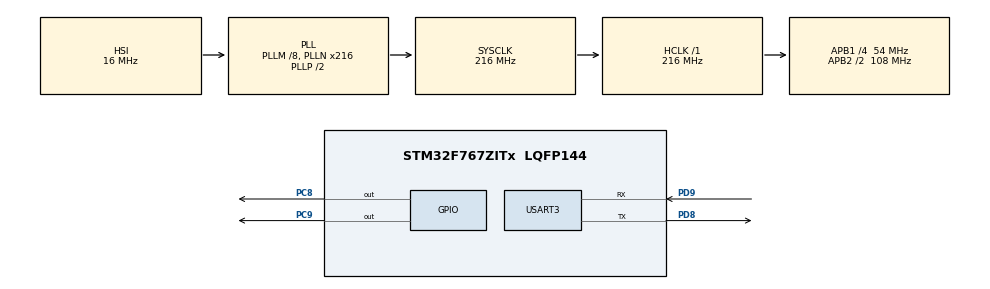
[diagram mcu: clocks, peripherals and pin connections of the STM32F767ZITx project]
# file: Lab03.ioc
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Mcu.Family=STM32F7
Mcu.Name=STM32F767ZITx
Mcu.Package=LQFP144
NVIC.PriorityGroup=NVIC_PRIORITYGROUP_4
PC8.Signal=GPIO_Output
PC9.Signal=GPIO_Output
PD8.Mode=Asynchronous
PD8.Signal=USART3_TX
PD9.Mode=Asynchronous
PD9.Signal=USART3_RX
ProjectManager.HeapSize=0x200
ProjectManager.StackSize=0x400
ProjectManager.TargetToolchain=STM32CubeIDE
RCC.48MHZClocksFreq_Value=24000000
RCC.AHBFreq_Value=216000000
RCC.APB1CLKDivider=RCC_HCLK_DIV4
RCC.APB1Freq_Value=54000000
RCC.APB1TimFreq_Value=108000000
RCC.APB2CLKDivider=RCC_HCLK_DIV2
RCC.APB2Freq_Value=108000000
RCC.APB2TimFreq_Value=216000000
RCC.CortexFreq_Value=216000000
RCC.HCLKFreq_Value=216000000
RCC.HSE_VALUE=8000000
RCC.HSI_VALUE=16000000
RCC.LSE_VALUE=32768
RCC.PLLM=8
RCC.PLLMUL=RCC_PLL_MUL9
RCC.PLLN=216
RCC.PLLQ=4
RCC.PRESCALERUSB=RCC_USBCLKSOURCE_PLL_DIV1_5
RCC.SYSCLKFreq_VALUE=216000000
RCC.SYSCLKSource=RCC_SYSCLKSOURCE_PLLCLK
RCC.SYSCLKSourceVirtual=RCC_SYSCLKSOURCE_PLLCLK
RCC.USBFreq_Value=108000000
RCC.VCOOutputFreq_Value=432000000
USART3.VirtualMode-Asynchronous=VM_ASYNC
board=NUCLEO-F767ZI

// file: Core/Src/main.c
/* USER CODE BEGIN Header */
/**
  ******************************************************************************
  * @file           : main.c
  * @brief          : Main program body
  ******************************************************************************
  * @attention
  *
  * Copyright (c) 2023 STMicroelectronics.
  * All rights reserved.
  *
  * This software is licensed under terms that can be found in the LICENSE file
  * in the root directory of this software component.
  * If no LICENSE file comes with this software, it is provided AS-IS.
  *
  ******************************************************************************
  */
/* USER CODE END Header */
#include "main.h"
#include "usart.h"
#include "gpio.h"

/* USER CODE BEGIN Includes */
#include "string.h"
/* USER CODE END Includes */

/* USER CODE BEGIN PV */
char ch1 = 'A';
char Kidpass[] = "64010591\r\n\n";
char Kidname[] = "Pitpibul Phongphotjanatham\r\n\n";
char ninpass[] = "64010454\r\n\n";
char ninname[] = "Bantita WongWan\r\n\n";
char Patpass[] = "64010400\r\n\n";
char Patname[] = "Nonthaphat Jitchiranant\r\n\n";
char ch2[] ="Input : ";
char ch3[] = "Unknown Command\r\n";
char ch4[] ="\r\n";
char quit[] ="Quit\r\n";
char c;
int notquit = 1;
/* USER CODE END PV */

void SystemClock_Config(void);

int main(void)
{

  /* MCU Configuration--------------------------------------------------------*/

  /* Reset of all peripherals, Initializes the Flash interface and the Systick. */
  HAL_Init();

  /* Configure the system clock */
  SystemClock_Config();

  /* Initialize all configured peripherals */
  MX_GPIO_Init();
  MX_USART3_UART_Init();

  /* Infinite loop */
  /* USER CODE BEGIN WHILE */
  while (1)
  {

//	  while (__HAL_UART_GET_FLAG(&huart3, UART_FLAG_TC) == RESET){}
//	  HAL_UART_Transmit(&huart3, (uint8_t*) &ch1 , 1 , 1000);
//	  HAL_Delay(1000);

	    while (notquit) {
			while (__HAL_UART_GET_FLAG(&huart3, UART_FLAG_TC) == RESET) {
			}
			HAL_UART_Transmit(&huart3, (uint8_t*) &ch2, strlen(ch2), 1000);

			while (__HAL_UART_GET_FLAG(&huart3, UART_FLAG_RXNE) == RESET) {}
			HAL_UART_Receive(&huart3, (uint8_t*) &c, 1, 1000);
			HAL_Delay(200);

			HAL_UART_Transmit(&huart3, (uint8_t*) &ch4, strlen(ch4), 1000);

			while (__HAL_UART_GET_FLAG(&huart3, UART_FLAG_RXNE) == SET) {}

			HAL_Delay(500);

			switch (c) {
			case '1':
				//          Todo Add LED1 Toggle
				HAL_GPIO_WritePin(GPIOC,GPIO_PIN_8,GPIO_PIN_SET);
				HAL_Delay(300);
				HAL_GPIO_WritePin(GPIOC,GPIO_PIN_8,GPIO_PIN_RESET);
				HAL_Delay(300);
				HAL_GPIO_WritePin(GPIOC,GPIO_PIN_8,GPIO_PIN_SET);
				HAL_Delay(300);
				HAL_GPIO_WritePin(GPIOC,GPIO_PIN_8,GPIO_PIN_RESET);
				HAL_Delay(300);
				HAL_GPIO_WritePin(GPIOC,GPIO_PIN_8,GPIO_PIN_SET);
				HAL_Delay(300);
				HAL_GPIO_WritePin(GPIOC,GPIO_PIN_8,GPIO_PIN_RESET);

				break;

			case '2':
				//          Todo Add LED2 Toggle
				HAL_GPIO_WritePin(GPIOC,GPIO_PIN_9,GPIO_PIN_SET);
								HAL_Delay(300);
								HAL_GPIO_WritePin(GPIOC,GPIO_PIN_9,GPIO_PIN_RESET);
								HAL_Delay(300);
								HAL_GPIO_WritePin(GPIOC,GPIO_PIN_9,GPIO_PIN_SET);
								HAL_Delay(300);
								HAL_GPIO_WritePin(GPIOC,GPIO_PIN_9,GPIO_PIN_RESET);
								HAL_Delay(300);
								HAL_GPIO_WritePin(GPIOC,GPIO_PIN_9,GPIO_PIN_SET);
								HAL_Delay(300);
								HAL_GPIO_WritePin(GPIOC,GPIO_PIN_9,GPIO_PIN_RESET);

				break;

			case 'm':
				//          Todo Add UART group member transmit
				while (__HAL_UART_GET_FLAG(&huart3, UART_FLAG_TC) == RESET) {
											}
				HAL_UART_Transmit(&huart3, (uint8_t*) &Patpass, strlen(Patpass), 1000);
				HAL_UART_Transmit(&huart3, (uint8_t*) &Patname, strlen(Patname), 1000);
				HAL_Delay(200);
				HAL_UART_Transmit(&huart3, (uint8_t*) &ninpass, strlen(ninpass), 1000);
				HAL_UART_Transmit(&huart3, (uint8_t*) &ninname, strlen(ninname), 1000);
				HAL_Delay(200);
				HAL_UART_Transmit(&huart3, (uint8_t*) &Kidpass, strlen(Kidpass), 1000);
				HAL_UART_Transmit(&huart3, (uint8_t*) &Kidname, strlen(Kidname), 1000);

				break;

			case 'q':
				//          Todo exit loop
				while (__HAL_UART_GET_FLAG(&huart3, UART_FLAG_TC) == RESET) {
											}
								HAL_UART_Transmit(&huart3, (uint8_t*) &quit, strlen(quit), 1000);
				notquit = 0;
				HAL_Delay(1000);
				break;

			default:
				while (__HAL_UART_GET_FLAG(&huart3, UART_FLAG_TC) == RESET) {
							}
				HAL_UART_Transmit(&huart3, (uint8_t*) &ch3, strlen(ch3), 1000);

				break;
			}

		}

    /* USER CODE END WHILE */

  }
}

void SystemClock_Config(void)
{
  RCC_OscInitTypeDef RCC_OscInitStruct = {0};
  RCC_ClkInitTypeDef RCC_ClkInitStruct = {0};

  /** Configure the main internal regulator output voltage
  */
  __HAL_RCC_PWR_CLK_ENABLE();
  __HAL_PWR_VOLTAGESCALING_CONFIG(PWR_REGULATOR_VOLTAGE_SCALE1);

  /** Initializes the RCC Oscillators according to the specified parameters
  * in the RCC_OscInitTypeDef structure.
  */
  RCC_OscInitStruct.OscillatorType = RCC_OSCILLATORTYPE_HSI;
  RCC_OscInitStruct.HSIState = RCC_HSI_ON;
  RCC_OscInitStruct.HSICalibrationValue = RCC_HSICALIBRATION_DEFAULT;
  RCC_OscInitStruct.PLL.PLLState = RCC_PLL_ON;
  RCC_OscInitStruct.PLL.PLLSource = RCC_PLLSOURCE_HSI;
  RCC_OscInitStruct.PLL.PLLM = 8;
  RCC_OscInitStruct.PLL.PLLN = 216;
  RCC_OscInitStruct.PLL.PLLP = RCC_PLLP_DIV2;
  RCC_OscInitStruct.PLL.PLLQ = 4;
  RCC_OscInitStruct.PLL.PLLR = 2;
  if (HAL_RCC_OscConfig(&RCC_OscInitStruct) != HAL_OK)
  {
    Error_Handler();
  }

  /** Activate the Over-Drive mode
  */
  if (HAL_PWREx_EnableOverDrive() != HAL_OK)
  {
    Error_Handler();
  }

  /** Initializes the CPU, AHB and APB buses clocks
  */
  RCC_ClkInitStruct.ClockType = RCC_CLOCKTYPE_HCLK|RCC_CLOCKTYPE_SYSCLK
                              |RCC_CLOCKTYPE_PCLK1|RCC_CLOCKTYPE_PCLK2;
  RCC_ClkInitStruct.SYSCLKSource = RCC_SYSCLKSOURCE_PLLCLK;
  RCC_ClkInitStruct.AHBCLKDivider = RCC_SYSCLK_DIV1;
  RCC_ClkInitStruct.APB1CLKDivider = RCC_HCLK_DIV4;
  RCC_ClkInitStruct.APB2CLKDivider = RCC_HCLK_DIV2;

  if (HAL_RCC_ClockConfig(&RCC_ClkInitStruct, FLASH_LATENCY_7) != HAL_OK)
  {
    Error_Handler();
  }
}

void Error_Handler(void)
{
  __disable_irq();
  while (1)
  {
  }
}
